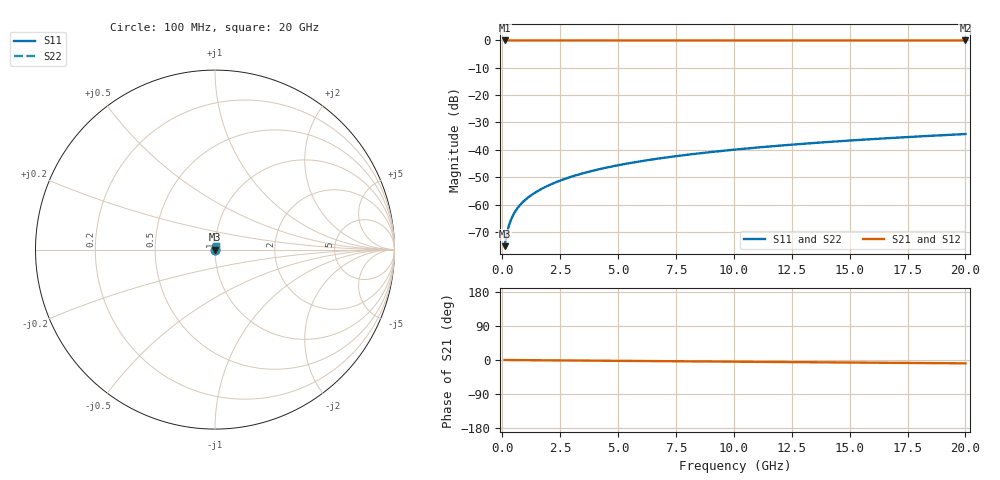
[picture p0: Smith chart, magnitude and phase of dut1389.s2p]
! Touchstone file exported from HFSS 2026.1.0
!  File:  C:/ffzhzh/LocalFiles/Ansys_Project_Files/temp_train_TSV_1389_1783196607_55132.aedt
!  Generated:  04:24:52 AM Jul  5, 2026
!  Design:  TSV
!  Project:  temp_train_TSV_1389_1783196607_55132
! Variables:
!  h_bsmrdl = 2um
!  h_ox = 20um
!  h_rdl = 5um
!  h_sub = 85.76um
!  h_tmrdl = 5um
!  h_tsv = 85.76um
!  h_via = 3um
!  l_bsmrdl = 300um
!  l_sub = 423.76um
!  l_tmrdl = 200um
!  m_sub = 200um
!  pitch = 54.87um
!  r_tsv = 11.88um
!  s_tmrdl = 10um
!  w_bsmrdl = 18um
!  w_sub = 500um
!  w_tmrdl = 12um
!  x_tsv_center1 = 206um
!  x_tsv_center2 = 524um
!  x_tsv_center3 = 736um
!  x_tsv_center4 = 1054um
!  x_tsv_center5 = 1266um
!  x_tsv_center6 = 1584um
# GHz S MA R 50.000000
! Terminal data exported
! Port[1] = TSV1_1_T1
! Port[2] = TSV1_1_T2
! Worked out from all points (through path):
!   200 points, 100 MHz to 20 GHz, reference 50 ohm
!   highest |S21| = 0.00 dB at 100 MHz (marker M1); lowest = 0.0 dB at 20 GHz (marker M2)
!   group delay of S21, straight-line fit = 1.23 ps
!   lowest |S11| = -75.2 dB at 100 MHz (marker M3), VSWR 1.00, Z = 50 + j0.014 ohm
!   |S11| at or under -10 dB: start of sweep to end of sweep
!   |S22| runs from -75.2 to -34.2 dB; largest |S21 - S12| = 3e-15
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0.1  0.0001732 54.0  0.9999 -0.0  0.9999 -0.0  0.0001732 54.0
! Gamma 0 0 0 0
! Port Impedance 50 0 50 0
0.2  0.0003 67.5  0.9999 -0.1  0.9999 -0.1  0.0003 67.5
0.3  0.0004304 71.9  0.9999 -0.1  0.9999 -0.1  0.0004304 71.9
0.4  0.0005572 73.7  0.9998 -0.2  0.9998 -0.2  0.0005572 73.7
0.5  0.0006788 74.5  0.9998 -0.2  0.9998 -0.2  0.0006788 74.5
0.6  0.0007953 75.0  0.9998 -0.3  0.9998 -0.3  0.0007953 75.0
0.7  0.0009075 75.4  0.9998 -0.3  0.9998 -0.3  0.0009075 75.4
0.9  0.001122 76.1  0.9997 -0.4  0.9997 -0.4  0.001122 76.1
1.1  0.00133 76.8  0.9997 -0.5  0.9997 -0.5  0.00133 76.8
1.3  0.001533 77.4  0.9997 -0.6  0.9997 -0.6  0.001533 77.4
1.6  0.001836 78.3  0.9996 -0.7  0.9996 -0.7  0.001836 78.3
1.9  0.002138 79.0  0.9996 -0.9  0.9996 -0.9  0.002138 79.0
2.6  0.002842 80.2  0.9996 -1.2  0.9996 -1.2  0.002842 80.2
3.5  0.003744 80.9  0.9995 -1.6  0.9995 -1.6  0.003744 80.9
4.2  0.00444 81.2  0.9995 -1.9  0.9995 -1.9  0.00444 81.2
5  0.00523 81.4  0.9994 -2.2  0.9994 -2.2  0.00523 81.4
6.8  0.006985 81.3  0.9993 -3.0  0.9993 -3.0  0.006985 81.3
8.3  0.008432 81.1  0.9992 -3.7  0.9992 -3.7  0.008432 81.1
10.1  0.01015 80.8  0.9991 -4.5  0.9991 -4.5  0.01015 80.8
13.4  0.01329 79.9  0.999 -5.9  0.999 -5.9  0.01329 79.9
16.7  0.01639 78.9  0.9988 -7.4  0.9988 -7.4  0.01639 78.9
20  0.01944 77.7  0.9986 -8.8  0.9986 -8.8  0.01944 77.7
